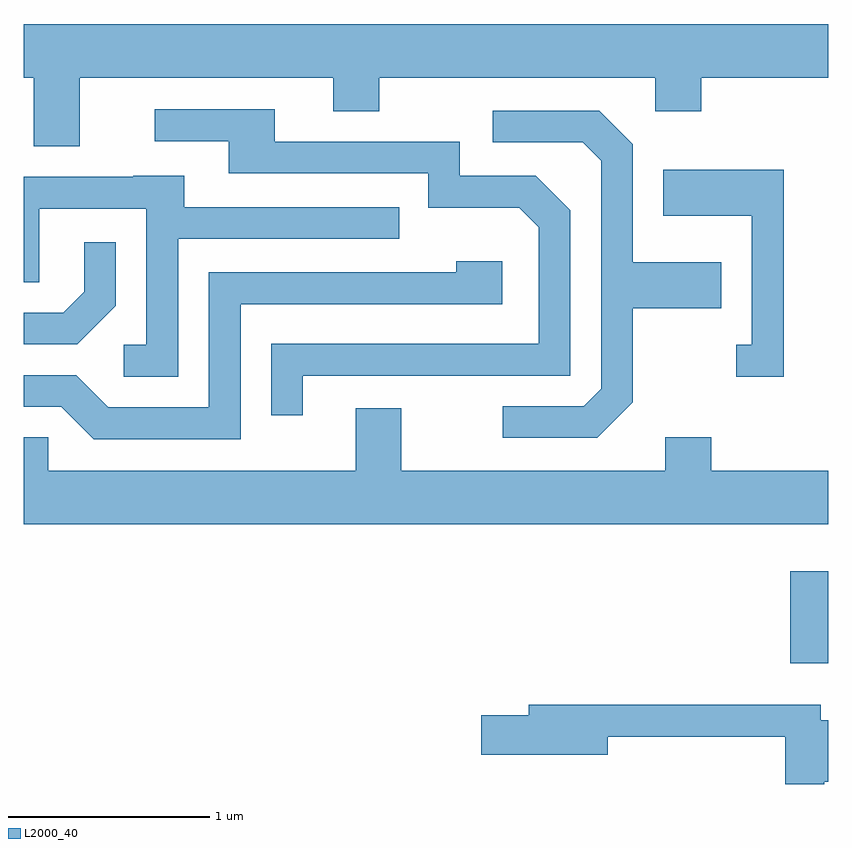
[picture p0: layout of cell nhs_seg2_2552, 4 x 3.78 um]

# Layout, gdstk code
import gdstk
lib = gdstk.Library(unit=1e-6, precision=1e-09)
def R(c, l, rs):  # rectangles x0, y0, x1, y1
    for r in rs: c.add(gdstk.rectangle(r[:2], r[2:], *l))
def P(c, l, *ps):  # polygons
    for p in ps: c.add(gdstk.Polygon(p, *l))
L2000_40 = (2000, 40)

nhs_seg2_2552 = lib.new_cell('nhs_seg2_2552')
R(nhs_seg2_2552, L2000_40, [(263.421,1056.506,263.611,1056.964)])
P(nhs_seg2_2552, L2000_40, [(259.889,1059.416),(261.151,1059.416),(261.151,1059.251),(261.379,1059.251),(261.379,1059.416),(262.751,1059.416),(262.751,1059.251),(262.979,1059.251),(262.979,1059.416),(263.611,1059.416),(263.611,1059.684),(259.611,1059.684),(259.611,1059.416),(259.661,1059.416),(259.661,1059.076),(259.889,1059.076)],
  [(260.999,1057.936),(262.329,1057.936),(262.329,1058.757),(262.157,1058.929),(261.779,1058.929),(261.779,1059.099),(260.859,1059.099),(260.859,1059.259),(260.263,1059.259),(260.263,1059.101),(260.631,1059.101),(260.631,1058.941),(261.621,1058.941),(261.621,1058.771),(262.074,1058.771),(262.171,1058.674),(262.171,1058.094),(260.841,1058.094),(260.841,1057.738),(260.999,1057.738)],
  [(262.639,1057.804),(262.639,1058.271),(263.079,1058.271),(263.079,1058.499),(262.639,1058.499),(262.639,1059.087),(262.472,1059.254),(261.943,1059.254),(261.943,1059.096),(262.389,1059.096),(262.481,1059.004),(262.481,1057.872),(262.394,1057.784),(261.993,1057.784),(261.993,1057.626),(262.462,1057.626)],
  [(263.389,1058.959),(262.791,1058.959),(262.791,1058.731),(263.231,1058.731),(263.231,1058.089),(263.153,1058.089),(263.153,1057.931),(263.389,1057.931)],
  [(260.379,1058.616),(261.478,1058.616),(261.478,1058.774),(260.409,1058.774),(260.409,1058.929),(260.155,1058.929),(260.155,1058.924),(259.611,1058.924),(259.611,1058.401),(259.689,1058.401),(259.689,1058.766),(260.221,1058.766),(260.221,1058.089),(260.108,1058.089),(260.108,1057.931),(260.379,1057.931)],
  [(260.069,1058.284),(260.069,1058.598),(259.911,1058.598),(259.911,1058.352),(259.808,1058.249),(259.611,1058.249),(259.611,1058.091),(259.877,1058.091)],
  [(260.689,1058.291),(261.989,1058.291),(261.989,1058.504),(261.761,1058.504),(261.761,1058.449),(260.531,1058.449),(260.531,1057.779),(260.032,1057.779),(259.872,1057.939),(259.611,1057.939),(259.611,1057.781),(259.799,1057.781),(259.959,1057.621),(260.689,1057.621)],
  [(263.611,1057.464),(263.029,1057.464),(263.029,1057.629),(262.801,1057.629),(262.801,1057.464),(261.489,1057.464),(261.489,1057.774),(261.261,1057.774),(261.261,1057.464),(259.734,1057.464),(259.734,1057.629),(259.611,1057.629),(259.611,1057.196),(263.611,1057.196)],
  [(263.59,1055.916),(263.611,1055.916),(263.611,1056.224),(263.574,1056.224),(263.574,1056.299),(262.121,1056.299),(262.121,1056.249),(261.886,1056.249),(261.886,1056.051),(262.514,1056.051),(262.514,1056.141),(263.396,1056.141),(263.396,1055.906),(263.59,1055.906)])

lib.write_gds('nhs_seg2_2552.gds')
